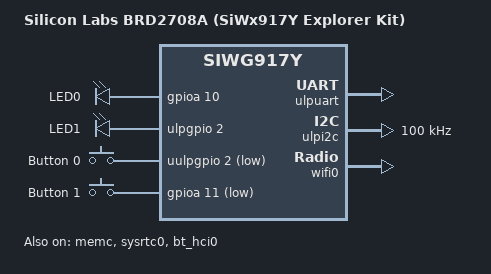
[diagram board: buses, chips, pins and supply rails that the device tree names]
/*
 * Copyright (c) 2023 Antmicro
 * Copyright (c) 2024-2025 Silicon Laboratories Inc.
 * SPDX-License-Identifier: Apache-2.0
 */

/dts-v1/;
#include <silabs/siwg917m111mgtba.dtsi>
#include <dt-bindings/gpio/gpio.h>
#include <dt-bindings/input/input-event-codes.h>
#include <dt-bindings/pinctrl/silabs/siwx91x-pinctrl.h>
#include <common/freq.h>
#include "siwx917y_ek-pinctrl.dtsi"

/ {
	model = "Silicon Labs BRD2708A (SiWx917Y Explorer Kit)";
	compatible = "silabs,siwx917y_ek", "silabs,siwg917y";

	chosen {
		zephyr,sram = &sram0;
		zephyr,code-partition = &slot0_partition;
		zephyr,console = &ulpuart;
		zephyr,shell-uart = &ulpuart;
		zephyr,uart-pipe = &ulpuart;
		zephyr,bt-hci = &bt_hci0;
        zephyr,wifi = &wifi0;
	};

	aliases {
		led0 = &led0;
		led1 = &led1;
		sw0 = &button0;
		sw1 = &button1;
        wifi0 = &wifi0;
	};

	leds {
		compatible = "gpio-leds";

		led0: led_0 {
			gpios = <&gpioa 10 GPIO_ACTIVE_HIGH>;  /* GPIO_10 */
			label = "LED0";
		};

		led1: led_1 {
			gpios = <&ulpgpio 2 GPIO_ACTIVE_HIGH>; /* ULP_GPIO_2 */
			label = "LED1";
		};
	};

	buttons {
		compatible = "gpio-keys";

		button0: button_0 {
			gpios = <&uulpgpio 2 GPIO_ACTIVE_LOW>; /* UULP_VBAT_GPIO_2 */
			zephyr,code = <INPUT_KEY_0>;
			label = "Button 0";
		};

		button1: button_1 {
			gpios = <&gpioa 11 GPIO_ACTIVE_LOW>;   /* GPIO_11 */
			zephyr,code = <INPUT_KEY_1>;
			label = "Button 1";
		};
	};
};

&ulpuart {
	status = "okay";
	pinctrl-0 = <&ulpuart_default>;
	pinctrl-names = "default";
};

/* I2C for Qwiic connector and mikroBUS */
&ulpi2c {
	status = "okay";
	pinctrl-0 = <&ulpi2c_default>;
	pinctrl-names = "default";
	clock-frequency = <DT_FREQ_K(100)>;
};

&cpu0 {
	clock-frequency = <180000000>; /* 180 MHz as per spec */
};

&flash0 {
	partitions {
		compatible = "fixed-partitions";
		#address-cells = <1>;
		#size-cells = <1>;

		/* Reserve 32 kB for the bootloader */
		boot_partition: partition@0 {
			label = "mcuboot";
			reg = <0x0 0x00008000>;
			read-only;
		};

		/* Reserve 220 kB for the application in slot 0 */
		slot0_partition: partition@8000 {
			label = "image-0";
			reg = <0x00008000 0x00037000>;
		};

		/* Reserve 220 kB for the application in slot 1 */
		slot1_partition: partition@3f000 {
			label = "image-1";
			reg = <0x0003f000 0x00037000>;
		};

		/* Reserve 32 kB for the scratch partition */
		scratch_partition: partition@76000 {
			label = "image-scratch";
			reg = <0x00076000 0x00008000>;
		};

		/* Set 8Kb of storage at the end of the 512KB of flash */
		storage_partition: partition@7e000 {
			label = "storage";
			reg = <0x0007e000 0x00002000>;
		};
	};
};

/* PSRAM Configuration - 64 Mbit QSPI PSRAM */
&memc {
	clocks = <&clock0 SIWX91X_CLK_QSPI>;
	pinctrl-0 = <&psram_default>;
	pinctrl-names = "default";
	device-id = [ 0d 5d 00 00 00 00 00 00 ];
	fast-freq = <DT_FREQ_M(144)>;
	normal-freq = <DT_FREQ_M(33)>;
	status = "okay";

	psram: psram@a000000 {
		compatible = "zephyr,memory-region", "mmio-sram";
		reg = <0xa000000 DT_SIZE_M(8)>;  /* 64 Mbit = 8 MB */
		zephyr,memory-attr = <( DT_MEM_ARM(ATTR_MPU_RAM) )>;
		zephyr,memory-region = "psram";
	};
};

&sysrtc0 {
	status = "okay";
};

&bt_hci0 {
	status = "okay";
};

&wifi0 {
	status = "okay";
};

